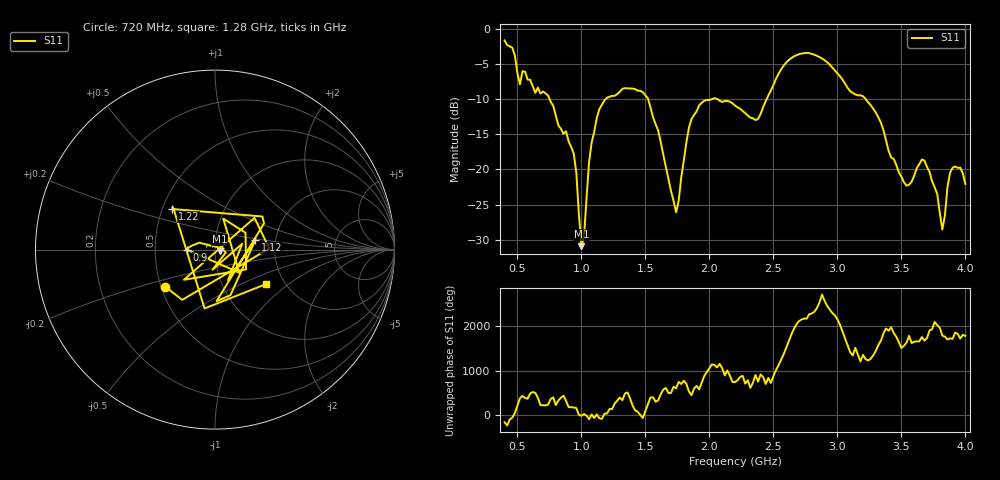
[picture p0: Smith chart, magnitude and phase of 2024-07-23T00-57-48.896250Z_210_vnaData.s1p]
!Created with skrf (http://scikit-rf.org).
# Hz S RI R 50.0
!freq ReS11 ImS11
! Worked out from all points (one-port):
!   181 points, 400 MHz to 4 GHz, reference 50 ohm
!   lowest |S11| = -30.9 dB at 1 GHz (marker M1), VSWR 1.06, Z = 52.8 - j0.899 ohm
!   |S11| at or under -10 dB: 751.1 MHz to 1.191 GHz (439.5 MHz wide, 45.3 % of centre); 1.521 GHz to 2.023 GHz (501.8 MHz wide, 28.3 % of centre); 3.221 GHz to end of sweep (the widest 3 of 4)
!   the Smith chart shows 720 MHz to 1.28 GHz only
!   S11 on the Smith chart (normalised r, x): 720 MHz: 0.52, -0.25; 900 MHz: 0.73, +0.00; 1.12 GHz: 1.57, +0.18; 1.22 GHz: 0.56, +0.29; 1.28 GHz: 1.61, -0.70
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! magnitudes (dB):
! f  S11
! 400 MHz  -1.7
! 520 MHz  -7.9
! 720 MHz  -9.2
! 860 MHz  -15.0
! 900 MHz  -16.0
! 960 MHz  -20.4
! 1 GHz  -30.9
! 1.02 GHz  -29.7
! 1.06 GHz  -18.9
! 1.12 GHz  -12.7
! 1.22 GHz  -9.7
! 1.28 GHz  -9.3
! 1.3 GHz  -9.0
! 1.52 GHz  -9.9
! 1.74 GHz  -26.1
! 1.76 GHz  -24.4
! 1.84 GHz  -14.1
! 1.92 GHz  -10.9
! 2.2 GHz  -10.9
! 2.38 GHz  -12.8
! 2.66 GHz  -3.9
! 3.1 GHz  -8.9
! 3.3 GHz  -11.9
! 3.56 GHz  -22.2
! 3.68 GHz  -18.8
! 3.82 GHz  -28.6
! 3.9 GHz  -19.8
! 4 GHz  -22.1
